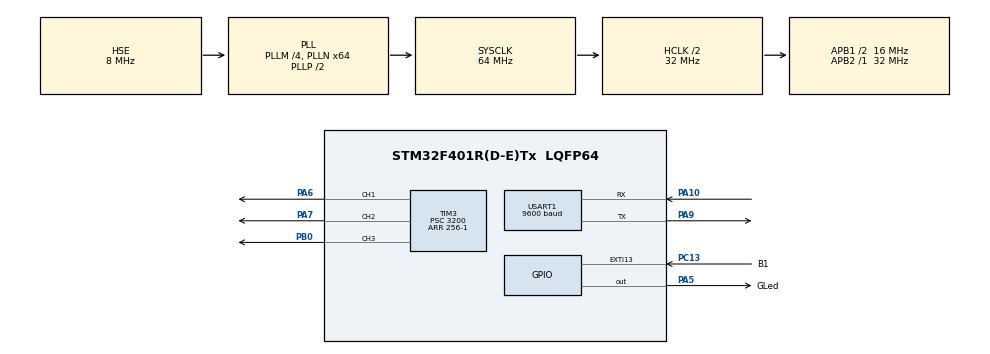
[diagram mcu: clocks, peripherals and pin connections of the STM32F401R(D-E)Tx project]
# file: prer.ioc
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FREERTOS.Tasks01=defaultTask,24,128,StartDefaultTask,Default,NULL,Dynamic,NULL,NULL;LedTask,8,128,StartLedTask,Default,NULL,Dynamic,NULL,NULL
FREERTOS.configUSE_NEWLIB_REENTRANT=1
Mcu.Family=STM32F4
Mcu.Name=STM32F401R(D-E)Tx
Mcu.Package=LQFP64
NVIC.PriorityGroup=NVIC_PRIORITYGROUP_4
NVIC.TIM1_UP_TIM10_IRQn=true\:15\:0\:false\:false\:true\:false\:true\:true\:true
NVIC.TIM3_IRQn=true\:5\:0\:false\:false\:true\:true\:true\:true\:true
NVIC.TimeBase=TIM1_UP_TIM10_IRQn
NVIC.TimeBaseIP=TIM10
NVIC.USART1_IRQn=true\:5\:0\:false\:false\:true\:true\:true\:true\:true
PA10.Mode=Asynchronous
PA10.Signal=USART1_RX
PA13.GPIO_Label=TMS
PA13.Mode=Serial_Wire
PA13.Signal=SYS_JTMS-SWDIO
PA14.GPIO_Label=TCK
PA14.Mode=Serial_Wire
PA14.Signal=SYS_JTCK-SWCLK
PA3.GPIO_Label=USART_RX
PA3.GPIO_Mode=GPIO_MODE_AF_PP
PA3.GPIO_PuPd=GPIO_NOPULL
PA3.GPIO_Speed=GPIO_SPEED_FREQ_LOW
PA3.Signal=USART2_RX
PA5.GPIO_Label=GLed
PA5.Signal=GPIO_Output
PA6.Signal=S_TIM3_CH1
PA7.Signal=S_TIM3_CH2
PA9.Mode=Asynchronous
PA9.Signal=USART1_TX
PB0.Signal=S_TIM3_CH3
PB3.GPIO_Label=SWO
PB3.Signal=SYS_JTDO-SWO
PC13-ANTI_TAMP.GPIO_Label=B1
PC13-ANTI_TAMP.GPIO_ModeDefaultEXTI=GPIO_MODE_IT_FALLING
PC13-ANTI_TAMP.GPIO_PuPd=GPIO_NOPULL
PC13-ANTI_TAMP.Signal=GPXTI13
PC14-OSC32_IN.Signal=RCC_OSC32_IN
PC15-OSC32_OUT.Signal=RCC_OSC32_OUT
PH0\ -\ OSC_IN.Mode=HSE-External-Oscillator
PH0\ -\ OSC_IN.Signal=RCC_OSC_IN
PH1\ -\ OSC_OUT.Mode=HSE-External-Oscillator
PH1\ -\ OSC_OUT.Signal=RCC_OSC_OUT
ProjectManager.HeapSize=0x200
ProjectManager.StackSize=0x400
ProjectManager.TargetToolchain=STM32CubeIDE
RCC.48MHZClocksFreq_Value=18285714.285714287
RCC.AHBCLKDivider=RCC_SYSCLK_DIV2
RCC.AHBFreq_Value=32000000
RCC.APB1CLKDivider=RCC_HCLK_DIV2
RCC.APB1Freq_Value=16000000
RCC.APB1TimFreq_Value=32000000
RCC.APB2Freq_Value=32000000
RCC.APB2TimFreq_Value=32000000
RCC.CortexFreq_Value=32000000
RCC.HCLKFreq_Value=32000000
RCC.HSE_VALUE=8000000
RCC.HSI_VALUE=16000000
RCC.LSE_VALUE=32768
RCC.PLLM=4
RCC.PLLN=64
RCC.PLLQ=7
RCC.PLLSourceVirtual=RCC_PLLSOURCE_HSE
RCC.SYSCLKFreq_VALUE=64000000
RCC.SYSCLKSource=RCC_SYSCLKSOURCE_PLLCLK
RCC.VCOOutputFreq_Value=128000000
SH.S_TIM3_CH1.0=TIM3_CH1,PWM Generation1 CH1
SH.S_TIM3_CH2.0=TIM3_CH2,PWM Generation2 CH2
SH.S_TIM3_CH3.0=TIM3_CH3,PWM Generation3 CH3
TIM1.Period=1000-1
TIM1.Prescaler=16-1
TIM3.Channel-PWM\ Generation1\ CH1=TIM_CHANNEL_1
TIM3.Channel-PWM\ Generation2\ CH2=TIM_CHANNEL_2
TIM3.Channel-PWM\ Generation3\ CH3=TIM_CHANNEL_3
TIM3.Period=256-1
TIM3.Prescaler=3200
USART1.BaudRate=9600
USART1.VirtualMode=VM_ASYNC
VP_FREERTOS_VS_CMSIS_V2.Mode=CMSIS_V2
VP_SYS_VS_tim10.Mode=TIM10
VP_TIM1_VS_ClockSourceINT.Mode=Internal
VP_TIM3_VS_ClockSourceINT.Mode=Internal
board=NUCLEO-F401RE

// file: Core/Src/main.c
/* USER CODE BEGIN Header */
/**
  ******************************************************************************
  * @file           : main.c
  * @brief          : Main program body
  ******************************************************************************
  * @attention
  *
  * Copyright (c) 2024 STMicroelectronics.
  * All rights reserved.
  *
  * This software is licensed under terms that can be found in the LICENSE file
  * in the root directory of this software component.
  * If no LICENSE file comes with this software, it is provided AS-IS.
  *
  ******************************************************************************
  */
/* USER CODE END Header */
#include "main.h"
#include "cmsis_os.h"
#include "tim.h"
#include "usart.h"
#include "gpio.h"

void SystemClock_Config(void);
void MX_FREERTOS_Init(void);
/* USER CODE BEGIN PFP */
void Set_PWM_Duty_Cycle(TIM_HandleTypeDef *htim, uint32_t Channe1, uint16_t pwm)
  {
      __HAL_TIM_SET_COMPARE(htim, Channe1, pwm);
  }
/* USER CODE END PFP */

int main(void)
{

  /* MCU Configuration--------------------------------------------------------*/

  /* Reset of all peripherals, Initializes the Flash interface and the Systick. */
  HAL_Init();

  /* Configure the system clock */
  SystemClock_Config();

  /* Initialize all configured peripherals */
  MX_GPIO_Init();
  MX_TIM1_Init();
  MX_USART1_UART_Init();
  MX_TIM3_Init();
  /* USER CODE BEGIN 2 */
  HAL_TIM_Base_Start_IT(&htim1);
  HAL_TIM_PWM_Start(&htim3, TIM_CHANNEL_2);
  HAL_TIM_PWM_Start(&htim3, TIM_CHANNEL_1);
  HAL_TIM_PWM_Start(&htim3, TIM_CHANNEL_3);

  /* USER CODE END 2 */

  /* Init scheduler */
  osKernelInitialize();

  /* Call init function for freertos objects (in cmsis_os2.c) */
  MX_FREERTOS_Init();

  /* Start scheduler */
  osKernelStart();

  /* We should never get here as control is now taken by the scheduler */

  /* Infinite loop */
  /* USER CODE BEGIN WHILE */
  //HAL_UART_Receive_IT(&huart1, (uint8_t*)buff, 5);

  while (1)
  {

    /* USER CODE END WHILE */

  }
}

void SystemClock_Config(void)
{
  RCC_OscInitTypeDef RCC_OscInitStruct = {0};
  RCC_ClkInitTypeDef RCC_ClkInitStruct = {0};

  /** Configure the main internal regulator output voltage
  */
  __HAL_RCC_PWR_CLK_ENABLE();
  __HAL_PWR_VOLTAGESCALING_CONFIG(PWR_REGULATOR_VOLTAGE_SCALE2);

  /** Initializes the RCC Oscillators according to the specified parameters
  * in the RCC_OscInitTypeDef structure.
  */
  RCC_OscInitStruct.OscillatorType = RCC_OSCILLATORTYPE_HSE;
  RCC_OscInitStruct.HSEState = RCC_HSE_ON;
  RCC_OscInitStruct.PLL.PLLState = RCC_PLL_ON;
  RCC_OscInitStruct.PLL.PLLSource = RCC_PLLSOURCE_HSE;
  RCC_OscInitStruct.PLL.PLLM = 4;
  RCC_OscInitStruct.PLL.PLLN = 64;
  RCC_OscInitStruct.PLL.PLLP = RCC_PLLP_DIV2;
  RCC_OscInitStruct.PLL.PLLQ = 7;
  if (HAL_RCC_OscConfig(&RCC_OscInitStruct) != HAL_OK)
  {
    Error_Handler();
  }

  /** Initializes the CPU, AHB and APB buses clocks
  */
  RCC_ClkInitStruct.ClockType = RCC_CLOCKTYPE_HCLK|RCC_CLOCKTYPE_SYSCLK
                              |RCC_CLOCKTYPE_PCLK1|RCC_CLOCKTYPE_PCLK2;
  RCC_ClkInitStruct.SYSCLKSource = RCC_SYSCLKSOURCE_PLLCLK;
  RCC_ClkInitStruct.AHBCLKDivider = RCC_SYSCLK_DIV2;
  RCC_ClkInitStruct.APB1CLKDivider = RCC_HCLK_DIV2;
  RCC_ClkInitStruct.APB2CLKDivider = RCC_HCLK_DIV1;

  if (HAL_RCC_ClockConfig(&RCC_ClkInitStruct, FLASH_LATENCY_1) != HAL_OK)
  {
    Error_Handler();
  }
}

void HAL_TIM_PeriodElapsedCallback(TIM_HandleTypeDef *htim)
{
  if (htim->Instance == TIM10) {
    HAL_IncTick();
  }
}

void Error_Handler(void)
{
  __disable_irq();
  while (1)
  {
  }
}

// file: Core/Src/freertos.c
/* USER CODE BEGIN Header */
/**
 ******************************************************************************
 * File Name          : freertos.c
 * Description        : Code for freertos applications
 ******************************************************************************
 * @attention
 *
 * Copyright (c) 2024 STMicroelectronics.
 * All rights reserved.
 *
 * This software is licensed under terms that can be found in the LICENSE file
 * in the root directory of this software component.
 * If no LICENSE file comes with this software, it is provided AS-IS.
 *
 ******************************************************************************
 */
/* USER CODE END Header */

#include "FreeRTOS.h"
#include "task.h"
#include "main.h"
#include "cmsis_os.h"

/* USER CODE BEGIN Includes */
#include "usart.h"
#include "tim.h"
#include <stdio.h>
#include <math.h>

/* USER CODE END Includes */

/* USER CODE BEGIN PD */
#define bitcheck(byte,nbit) (((byte) & (1<<(nbit)))>>nbit)
#define bitflip(byte,nbit)  ((byte) ^=  (1<<(nbit)))
#define S 1
#define V 1

/* USER CODE END PD */

/* USER CODE BEGIN Variables */
uint8_t numByte = 0;
uint8_t byteArr[3];
uint8_t i = 0;

uint16_t znach;
uint8_t R, G, B;
/* USER CODE END Variables */
/* Definitions for defaultTask */
osThreadId_t defaultTaskHandle;
const osThreadAttr_t defaultTask_attributes = { .name = "defaultTask",
		.stack_size = 128 * 4, .priority = (osPriority_t) osPriorityNormal, };
/* Definitions for LedTask */
osThreadId_t LedTaskHandle;
const osThreadAttr_t LedTask_attributes = { .name = "LedTask", .stack_size = 128
		* 4, .priority = (osPriority_t) osPriorityLow, };

/* USER CODE BEGIN FunctionPrototypes */
void Set_PWM_Duty_Cycle();
void colorLib() {

	float Rr, Gg, Bb;
	double H = znach / 11.375;
	double C, M, X;

	C = V * S;
	X = C * (1 - fabs(fmod(H / 60.0, 2) - 1));
	M = V - C;

	if (H >= 0 && H < 60) {
		Rr = C;
		Gg = X;
		Bb = 0;
	} else if (H >= 60 && H < 120) {
		Rr = X;
		Gg = C;
		Bb = 0;
	} else if (H >= 120 && H < 180) {
		Rr = 0;
		Gg = C;
		Bb = X;
	} else if (H >= 180 && H < 240) {
		Rr = 0;
		Gg = X;
		Bb = C;
	} else if (H >= 240 && H < 300) {
		Rr = X;
		Gg = 0;
		Bb = C;
	} else if (H >= 300 && H < 360) {
		Rr = C;
		Gg = 0;
		Bb = X;
	}

	R = (Rr + M) * 255;
	G = (Gg + M) * 255;
	B = (Bb + M) * 255;

}

/* USER CODE END FunctionPrototypes */

void StartDefaultTask(void *argument);
void StartLedTask(void *argument);

void MX_FREERTOS_Init(void); /* (MISRA C 2004 rule 8.1) */

void MX_FREERTOS_Init(void) {

	/* Create the thread(s) */
	/* creation of defaultTask */
	defaultTaskHandle = osThreadNew(StartDefaultTask, NULL,
			&defaultTask_attributes);

	/* creation of LedTask */
	LedTaskHandle = osThreadNew(StartLedTask, NULL, &LedTask_attributes);

}

void StartDefaultTask(void *argument) {
	/* USER CODE BEGIN StartDefaultTask */
	/* Infinite loop */
	for (;;) {
		if (HAL_UART_Receive(&huart1, &numByte, 1, 50) == HAL_OK) {
			if (bitcheck(numByte, 7) == 0) {
				i = 0;
				byteArr[i] = numByte;
			} else {
				i++;
				byteArr[i] = numByte;
			}
			if (i == 2) {
				if (bitcheck(byteArr[2],7) != bitcheck(byteArr[0], 5)) {
					bitflip(byteArr[2], 7);
				}
				znach = byteArr[2] * 17;
			}
		}

		osDelay(1);
	}
	/* USER CODE END StartDefaultTask */
}

void StartLedTask(void *argument) {
	/* USER CODE BEGIN StartLedTask */
	/* Infinite loop */
	for (;;) {
		colorLib();
		Set_PWM_Duty_Cycle(&htim3, TIM_CHANNEL_1, R);
		Set_PWM_Duty_Cycle(&htim3, TIM_CHANNEL_2, G);
		Set_PWM_Duty_Cycle(&htim3, TIM_CHANNEL_3, B);
	}
	osDelay(1);
}
/* USER CODE END StartLedTask */
